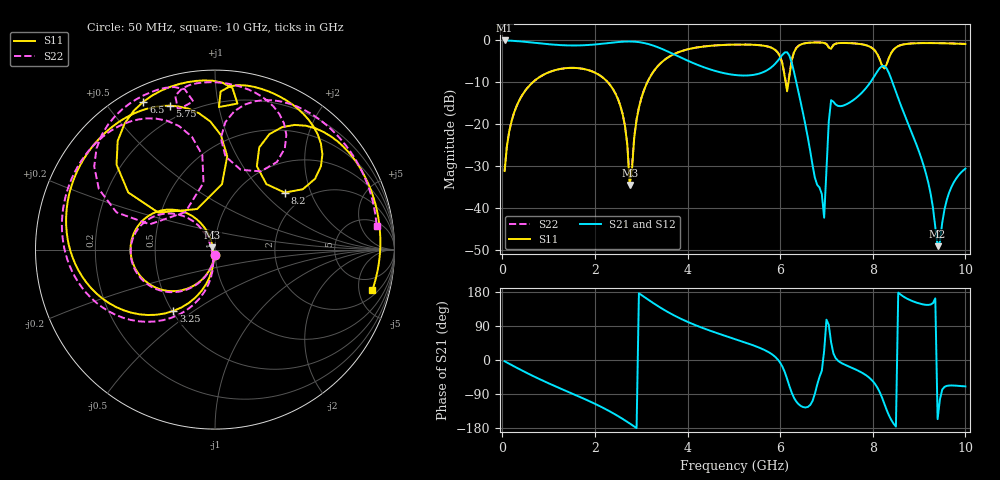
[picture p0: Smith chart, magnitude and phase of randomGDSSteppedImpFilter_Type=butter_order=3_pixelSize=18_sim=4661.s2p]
! freq	dB(S11)	phase(S11)	dB(S12)	phase(S12)
!  dB(S21)	phase(S21)	dB(S22)	phase(S22)
!S-par simulation data
#  GHz  S  DB  R 50
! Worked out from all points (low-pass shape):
!   200 points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, 50 MHz to 10 GHz, reference 50 ohm
!   highest |S21| = -0.01 dB at 50 MHz (marker M1); lowest = -49.1 dB at 9.4 GHz (marker M2)
!   |S21| within 3 dB of the highest: start of sweep to 3.645 GHz; 6.087 GHz to 6.161 GHz (74.39 MHz wide, 1.21 % of centre)
!   lowest |S11| = -34.5 dB at 2.75 GHz (marker M3), VSWR 1.04, Z = 48.6 + j1.2 ohm
!   |S11| at or under -10 dB: start of sweep to 658.6 MHz; 2.279 GHz to 3.132 GHz (853.2 MHz wide, 31.5 % of centre); 6.119 GHz to 6.179 GHz (60.55 MHz wide, 0.985 % of centre)
!   |S22| runs from -32.6 to -0.5 dB; largest |S21 - S12| = 0
!   S11 on the Smith chart (normalised r, x): 50 MHz: 1.00, -0.05; 3.25 GHz: 0.51, -0.42; 5.75 GHz: 0.13, +0.72; 6.5 GHz: 0.06, +0.63; 8.2 GHz: 1.57, +1.34; 10 GHz: 2.75, -6.85
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0.05  -31.18 -93.5  -0.01 -3.3  -0.01 -3.3  -31.18 -93.4
0.5  -11.93 -123.4  -0.34 -32.3  -0.34 -32.3  -11.93 -122.4
1.75  -6.79 166.6  -1.15 -101.5  -1.15 -101.5  -6.79 170.1
2.5  -14.07 121.1  -0.38 -148.0  -0.38 -148.0  -14.06 127.5
2.75  -34.51 139.0  -0.25 -167.3  -0.25 -167.3  -32.59 157.4
2.95  -16.07 -101.2  -0.40 176.0  -0.40 176.0  -16.01 -98.3
3.25  -7.68 -124.2  -1.19 151.0  -1.19 151.0  -7.66 -119.0
3.4  -5.65 -135.7  -1.81 139.3  -1.81 139.3  -5.64 -130.0
4.15  -1.78 178.3  -5.53 93.0  -5.53 93.0  -1.77 -173.8
5.05  -0.99 139.4  -8.28 54.2  -8.28 54.2  -0.98 150.1
5.75  -1.51 107.5  -6.89 20.8  -6.89 20.8  -1.49 120.6
6.05  -5.60 82.5  -3.41 -17.8  -3.41 -17.8  -5.50 97.6
6.2  -8.49 146.9  -3.65 -69.0  -3.65 -69.0  -8.19 158.8
6.5  -0.76 115.8  -17.70 -124.4  -17.70 -124.4  -0.75 130.4
6.7  -0.50 102.2  -29.80 -108.0  -29.80 -108.0  -0.49 117.6
6.95  -0.62 87.5  -42.33 23.8  -42.33 23.8  -0.59 104.1
7.1  -2.00 88.4  -14.27 46.8  -14.27 46.8  -1.87 104.8
8.2  -5.99 39.3  -6.10 -99.2  -6.10 -99.2  -5.93 59.6
8.35  -4.15 66.6  -7.81 -146.4  -7.81 -146.4  -4.12 87.0
9.15  -0.63 22.3  -31.84 145.6  -31.84 145.6  -0.61 44.6
9.4  -0.65 11.5  -49.13 -156.0  -49.13 -156.0  -0.63 34.1
10  -0.86 -14.4  -30.62 -69.6  -30.62 -69.6  -0.82 8.5
